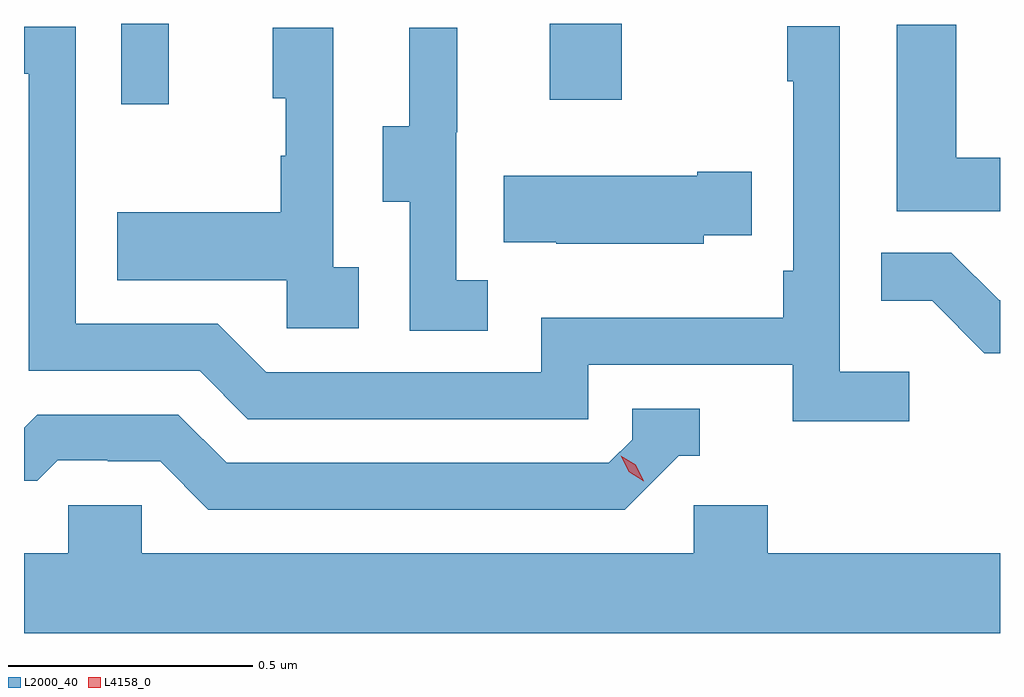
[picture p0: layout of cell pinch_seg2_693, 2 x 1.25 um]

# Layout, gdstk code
import gdstk
lib = gdstk.Library(unit=1e-6, precision=1e-09)
def R(c, l, rs):  # rectangles x0, y0, x1, y1
    for r in rs: c.add(gdstk.rectangle(r[:2], r[2:], *l))
def P(c, l, *ps):  # polygons
    for p in ps: c.add(gdstk.Polygon(p, *l))
L2000_40 = (2000, 40)
L4158_0 = (4158, 0)

pinch_seg2_693 = lib.new_cell('pinch_seg2_693')
R(pinch_seg2_693, L2000_40, [(1109.049,603.432,1109.147,603.597), (1109.927,603.441,1110.075,603.597)])
P(pinch_seg2_693, L2000_40, [(1110.85,603.322),(1110.76,603.322),(1110.76,603.595),(1110.638,603.595),(1110.638,603.213),(1110.85,603.213)],
  [(1110.664,602.884),(1110.522,602.884),(1110.522,603.592),(1110.414,603.592),(1110.414,603.479),(1110.426,603.479),(1110.426,603.091),(1110.406,603.091),(1110.406,602.995),(1109.91,602.995),(1109.91,602.883),(1109.346,602.883),(1109.247,602.982),(1108.956,602.982),(1108.956,603.591),(1108.85,603.591),(1108.85,603.495),(1108.86,603.495),(1108.86,602.886),(1109.21,602.886),(1109.309,602.787),(1110.006,602.787),(1110.006,602.898),(1110.425,602.898),(1110.425,602.782),(1110.664,602.782)],
  [(1109.8,603.071),(1109.736,603.071),(1109.736,603.375),(1109.738,603.375),(1109.738,603.589),(1109.639,603.589),(1109.639,603.387),(1109.585,603.387),(1109.585,603.232),(1109.64,603.232),(1109.64,602.968),(1109.8,602.968)],
  [(1109.536,603.098),(1109.484,603.098),(1109.484,603.589),(1109.36,603.589),(1109.36,603.444),(1109.386,603.444),(1109.386,603.326),(1109.376,603.326),(1109.376,603.211),(1109.041,603.211),(1109.041,603.071),(1109.388,603.071),(1109.388,602.973),(1109.536,602.973)],
  [(1110.243,603.164),(1110.341,603.164),(1110.341,603.294),(1110.23,603.294),(1110.23,603.286),(1109.833,603.286),(1109.833,603.149),(1109.941,603.149),(1109.941,603.146),(1110.243,603.146)],
  [(1110.85,603.03),(1110.848,603.03),(1110.75,603.128),(1110.607,603.128),(1110.607,603.029),(1110.711,603.029),(1110.818,602.922),(1110.85,602.922)],
  [(1110.192,602.712),(1110.235,602.712),(1110.235,602.808),(1110.096,602.808),(1110.096,602.745),(1110.048,602.697),(1109.265,602.697),(1109.166,602.796),(1108.877,602.796),(1108.85,602.769),(1108.85,602.661),(1108.877,602.661),(1108.919,602.703),(1109.022,602.703),(1109.022,602.7),(1109.129,602.7),(1109.228,602.601),(1110.081,602.601)],
  [(1110.85,602.512),(1110.374,602.512),(1110.374,602.61),(1110.222,602.61),(1110.222,602.512),(1109.091,602.512),(1109.091,602.61),(1108.941,602.61),(1108.941,602.512),(1108.85,602.512),(1108.85,602.348),(1110.85,602.348)])
P(pinch_seg2_693, L4158_0, [(1110.12,602.66),(1110.089,602.679),(1110.073,602.712),(1110.073,602.712),(1110.073,602.712),(1110.104,602.693),(1110.12,602.66),(1110.12,602.66)])

lib.write_gds('pinch_seg2_693.gds')
